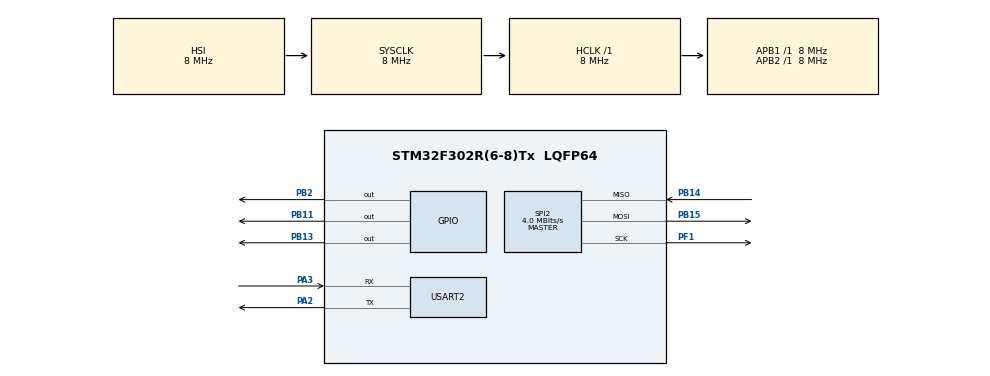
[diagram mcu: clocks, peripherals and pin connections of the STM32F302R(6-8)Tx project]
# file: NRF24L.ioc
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Mcu.Family=STM32F3
Mcu.Name=STM32F302R(6-8)Tx
Mcu.Package=LQFP64
NVIC.PriorityGroup=NVIC_PRIORITYGROUP_4
PA2.Mode=Asynchronous
PA2.Signal=USART2_TX
PA3.Mode=Asynchronous
PA3.Signal=USART2_RX
PB11.PinState=GPIO_PIN_SET
PB11.Signal=GPIO_Output
PB13.Signal=GPIO_Output
PB14.Mode=Full_Duplex_Master
PB14.Signal=SPI2_MISO
PB15.Mode=Full_Duplex_Master
PB15.Signal=SPI2_MOSI
PB2.PinState=GPIO_PIN_SET
PB2.Signal=GPIO_Output
PF1-OSC_OUT.Mode=Full_Duplex_Master
PF1-OSC_OUT.Signal=SPI2_SCK
ProjectManager.HeapSize=0x200
ProjectManager.StackSize=0x400
ProjectManager.TargetToolchain=STM32CubeIDE
RCC.AHBFreq_Value=8000000
RCC.APB1Freq_Value=8000000
RCC.APB2Freq_Value=8000000
RCC.CortexFreq_Value=8000000
RCC.HSE_VALUE=8000000
RCC.HSI_VALUE=8000000
RCC.LSE_VALUE=32768
RCC.SYSCLKFreq_VALUE=8000000
SPI2.CalculateBaudRate=4.0 MBits/s
SPI2.DataSize=SPI_DATASIZE_8BIT
SPI2.Direction=SPI_DIRECTION_2LINES
SPI2.Mode=SPI_MODE_MASTER
SPI2.NSSPMode=SPI_NSS_PULSE_DISABLE
SPI2.VirtualType=VM_MASTER
USART2.VirtualMode-Asynchronous=VM_ASYNC
board=custom

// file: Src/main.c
/* USER CODE BEGIN Header */
/**
  ******************************************************************************
  * @file           : main.c
  * @brief          : Main program body
  ******************************************************************************
  * @attention
  *
  * <h2><center>&copy; Copyright (c) 2019 STMicroelectronics.
  * All rights reserved.</center></h2>
  *
  * This software component is licensed by ST under BSD 3-Clause license,
  * the "License"; You may not use this file except in compliance with the
  * License. You may obtain a copy of the License at:
  *                        opensource.org/licenses/BSD-3-Clause
  *
  ******************************************************************************
  */
/* USER CODE END Header */

#include "main.h"

/* USER CODE BEGIN Includes */
#include "nrf24.h"
#include "dbg.h"
#include "uart_msg.h"
#include <stdlib.h>
/* USER CODE END Includes */

/* USER CODE BEGIN PD */
#define SPI_CE GPIO_PIN_2    // portb
#define SPI_NSS GPIO_PIN_11    // portb
/* USER CODE END PD */

SPI_HandleTypeDef hspi2;

UART_HandleTypeDef huart2;

void SystemClock_Config(void);
static void MX_GPIO_Init(void);
static void MX_SPI2_Init(void);
static void MX_USART2_UART_Init(void);

/* USER CODE BEGIN 0 */
void test_debug(void)
{
	uint8_t number = 24;
	  debug_printf("So this works\r\n");
	  debug_printf("So %s this works\r\n", number);

	  debug("Basic debug works\r");
	  log_err("Error logging works\r");
	  log_info("Info logging works\r");
	  log_warn("Warning logging works\r");

	  sentinel("NEVER SHOULD HAVE COME HERE\r");

	  uint8_t *test_ptr = malloc(sizeof(uint8_t));
	  check(test_ptr, "FAILED");
	  *test_ptr = NULL;
	  check(test_ptr, "SUCC");

	  error:
	  	  while(1);
}

void test_spi_read_write(void)
{
	  HAL_GPIO_WritePin(GPIOB, SPI_CE, GPIO_PIN_RESET);
	  uint8_t check = 1;
	  uint8_t TxBuf[] = {0x30, 'g', 'r', 'f', 2, 4};
	  uint8_t RxBuf[] = {0,0,0,0, 0,0};
	  check = nRF24_Check();   // this returns zero (fails)

	  nRF24_CSN_L();
	  if (HAL_SPI_TransmitReceive(&hspi2, TxBuf, RxBuf, 6, 1000) != HAL_OK)   //this is working OK
		  Error_Handler();
	  nRF24_CSN_H();

	  HAL_GPIO_WritePin(GPIOB, SPI_CE, GPIO_PIN_SET);

	  // finish write reg part -------------------------------------------------------------------------------

	  uint8_t TxBuf2[] = {0x10, 0xFF, 0xFF, 0xFF, 0xFF, 0xFF};
	  uint8_t RxBuf2[] = {0,0,0,0, 0,0};

	  uint8_t status2 = 1;
	  HAL_GPIO_WritePin(GPIOB, SPI_CE, GPIO_PIN_RESET);

	  //status2 = nRF24_Check();   // this returns zero (fails)

	  nRF24_CSN_L();
	  if (HAL_SPI_TransmitReceive(&hspi2, TxBuf2, RxBuf2, 6, 1000) != HAL_OK)   //this is working OK
		  Error_Handler();
	  nRF24_CSN_H();

	  HAL_GPIO_WritePin(GPIOB, SPI_CE, GPIO_PIN_SET);
}

int send_packet(void)
{
	//config on rpi
//	STATUS           = 0x0e RX_DR=0 TX_DS=0 MAX_RT=0 RX_P_NO=7 TX_FULL=0
//	RX_ADDR_P0-1     = 0xe7e7e7e7e7 0x3130303030
//	RX_ADDR_P2-5     = 0xc3 0xc4 0xc5 0xc6
//	TX_ADDR          = 0xe7e7e7e7e7
//	RX_PW_P0-6       = 0x00 0x20 0x00 0x00 0x00 0x00
//	EN_AA            = 0x3f
//	EN_RXADDR        = 0x02
//	RF_CH            = 0x4c
//	RF_SETUP         = 0x07
//	CONFIG           = 0x0e
//	DYNPD/FEATURE    = 0x00 0x00
//	Data Rate        = 1MBPS
//	Model            = nRF24L01+
//	CRC Length       = 16 bits
//	PA Power         = PA_MAX

	uint8_t ADDR[] = { 0xe7, 0xe7, 0xe7, 0xe7, 0xe7 }; // the TX address
	nRF24_DisableAA(0xFF); // disable ShockBurst
	nRF24_SetRFChannel(0x4c); // set RF channel to 2490MHz
	nRF24_SetDataRate(nRF24_DR_1Mbps); // 2Mbit/s data rate
	nRF24_SetCRCScheme(nRF24_CRC_2byte); // 1-byte CRC scheme
	nRF24_SetAddrWidth(5); // address width is 5 bytes
	nRF24_SetTXPower(nRF24_TXPWR_0dBm); // configure TX power
	nRF24_SetAddr(nRF24_PIPETX, ADDR); // program TX address
	nRF24_SetOperationalMode(nRF24_MODE_TX); // switch transceiver to the TX mode
	nRF24_SetPowerMode(nRF24_PWR_UP); // wake-up transceiver (in case if it sleeping)

	uint8_t pBuf[] = {'H', 'e'};
	uint8_t status;
	nRF24_WritePayload(pBuf, 2); // transfer payload data to transceiver
	nRF24_CE_H(); // assert CE pin (transmission starts)
	while (1) {
	    status = nRF24_GetStatus();
	    if (status & (nRF24_FLAG_TX_DS | nRF24_FLAG_MAX_RT)) {
	        // transmission ended, exit loop
	        break;
	    }
	}
	nRF24_CE_H(); // de-assert CE pin (nRF24 goes to StandBy-I mode)
	nRF24_ClearIRQFlags(); // clear any pending IRQ flags
	if (status & nRF24_FLAG_MAX_RT) {
	    // Auto retransmit counter exceeds the programmed maximum limit (payload in FIFO is not removed)
	    // Also the software can flush the TX FIFO here...
	    return 0;
	}
	if (status & nRF24_FLAG_TX_DS) {
	    // Successful transmission
	    return 1;
	}
	// In fact that should not happen
	return -4;
}
/* USER CODE END 0 */

int main(void)
{

  /* MCU Configuration--------------------------------------------------------*/

  /* Reset of all peripherals, Initializes the Flash interface and the Systick. */
  HAL_Init();

  /* Configure the system clock */
  SystemClock_Config();

  /* Initialize all configured peripherals */
  MX_GPIO_Init();
  MX_SPI2_Init();
  MX_USART2_UART_Init();

  /* Infinite loop */
  /* USER CODE BEGIN WHILE */
  while (1)
  {

	  HAL_StatusTypeDef error;

	  log_info("System started\r");
	  if (!nRF24_Check())
	  {
		  log_err("Check failed \r");
		  log_info("Retrying...");
		  HAL_Delay(500); //delay just to make sure
		  if (!nRF24_Check())
		  {
			  log_err("Check failed again \r");
			  Error_Handler();
		  }
		  else
		  log_info("Check successful after retry\r");

	  }
	  else
		  log_info("Check successful\r");

	  HAL_Delay(500);

	  nRF24_Init();

	  log_info("System running\r");
	  send_packet();
	  HAL_Delay(1000);
	  nRF24_dump_config();

	  while(1)
	  {

	  }

    /* USER CODE END WHILE */

  }
}

void SystemClock_Config(void)
{
  RCC_OscInitTypeDef RCC_OscInitStruct = {0};
  RCC_ClkInitTypeDef RCC_ClkInitStruct = {0};

  /** Initializes the CPU, AHB and APB busses clocks
  */
  RCC_OscInitStruct.OscillatorType = RCC_OSCILLATORTYPE_HSI;
  RCC_OscInitStruct.HSIState = RCC_HSI_ON;
  RCC_OscInitStruct.HSICalibrationValue = RCC_HSICALIBRATION_DEFAULT;
  RCC_OscInitStruct.PLL.PLLState = RCC_PLL_NONE;
  if (HAL_RCC_OscConfig(&RCC_OscInitStruct) != HAL_OK)
  {
    Error_Handler();
  }
  /** Initializes the CPU, AHB and APB busses clocks
  */
  RCC_ClkInitStruct.ClockType = RCC_CLOCKTYPE_HCLK|RCC_CLOCKTYPE_SYSCLK
                              |RCC_CLOCKTYPE_PCLK1|RCC_CLOCKTYPE_PCLK2;
  RCC_ClkInitStruct.SYSCLKSource = RCC_SYSCLKSOURCE_HSI;
  RCC_ClkInitStruct.AHBCLKDivider = RCC_SYSCLK_DIV1;
  RCC_ClkInitStruct.APB1CLKDivider = RCC_HCLK_DIV1;
  RCC_ClkInitStruct.APB2CLKDivider = RCC_HCLK_DIV1;

  if (HAL_RCC_ClockConfig(&RCC_ClkInitStruct, FLASH_LATENCY_0) != HAL_OK)
  {
    Error_Handler();
  }
}

static void MX_SPI2_Init(void)
{

  /* SPI2 parameter configuration*/
  hspi2.Instance = SPI2;
  hspi2.Init.Mode = SPI_MODE_MASTER;
  hspi2.Init.Direction = SPI_DIRECTION_2LINES;
  hspi2.Init.DataSize = SPI_DATASIZE_8BIT;
  hspi2.Init.CLKPolarity = SPI_POLARITY_LOW;
  hspi2.Init.CLKPhase = SPI_PHASE_1EDGE;
  hspi2.Init.NSS = SPI_NSS_SOFT;
  hspi2.Init.BaudRatePrescaler = SPI_BAUDRATEPRESCALER_2;
  hspi2.Init.FirstBit = SPI_FIRSTBIT_MSB;
  hspi2.Init.TIMode = SPI_TIMODE_DISABLE;
  hspi2.Init.CRCCalculation = SPI_CRCCALCULATION_DISABLE;
  hspi2.Init.CRCPolynomial = 7;
  hspi2.Init.CRCLength = SPI_CRC_LENGTH_DATASIZE;
  hspi2.Init.NSSPMode = SPI_NSS_PULSE_DISABLE;
  if (HAL_SPI_Init(&hspi2) != HAL_OK)
  {
    Error_Handler();
  }

}

static void MX_USART2_UART_Init(void)
{

  huart2.Instance = USART2;
  huart2.Init.BaudRate = 38400;
  huart2.Init.WordLength = UART_WORDLENGTH_8B;
  huart2.Init.StopBits = UART_STOPBITS_1;
  huart2.Init.Parity = UART_PARITY_NONE;
  huart2.Init.Mode = UART_MODE_TX_RX;
  huart2.Init.HwFlowCtl = UART_HWCONTROL_NONE;
  huart2.Init.OverSampling = UART_OVERSAMPLING_16;
  huart2.Init.OneBitSampling = UART_ONE_BIT_SAMPLE_DISABLE;
  huart2.AdvancedInit.AdvFeatureInit = UART_ADVFEATURE_NO_INIT;
  if (HAL_UART_Init(&huart2) != HAL_OK)
  {
    Error_Handler();
  }

}

static void MX_GPIO_Init(void)
{
  GPIO_InitTypeDef GPIO_InitStruct = {0};

  /* GPIO Ports Clock Enable */
  __HAL_RCC_GPIOF_CLK_ENABLE();
  __HAL_RCC_GPIOA_CLK_ENABLE();
  __HAL_RCC_GPIOB_CLK_ENABLE();

  /*Configure GPIO pin Output Level */
  HAL_GPIO_WritePin(GPIOB, GPIO_PIN_2|GPIO_PIN_11, GPIO_PIN_SET);

  /*Configure GPIO pin Output Level */
  HAL_GPIO_WritePin(GPIOB, GPIO_PIN_13, GPIO_PIN_RESET);

  /*Configure GPIO pins : PB2 PB11 PB13 */
  GPIO_InitStruct.Pin = GPIO_PIN_2|GPIO_PIN_11|GPIO_PIN_13;
  GPIO_InitStruct.Mode = GPIO_MODE_OUTPUT_PP;
  GPIO_InitStruct.Pull = GPIO_NOPULL;
  GPIO_InitStruct.Speed = GPIO_SPEED_FREQ_LOW;
  HAL_GPIO_Init(GPIOB, &GPIO_InitStruct);

}

void Error_Handler(void)
{
  /* USER CODE BEGIN Error_Handler_Debug */
  /* User can add his own implementation to report the HAL error return state */
	log_err("Error occurred, restart system!");
	while(1);
  /* USER CODE END Error_Handler_Debug */
}

/************************ (C) COPYRIGHT STMicroelectronics *****END OF FILE****/
